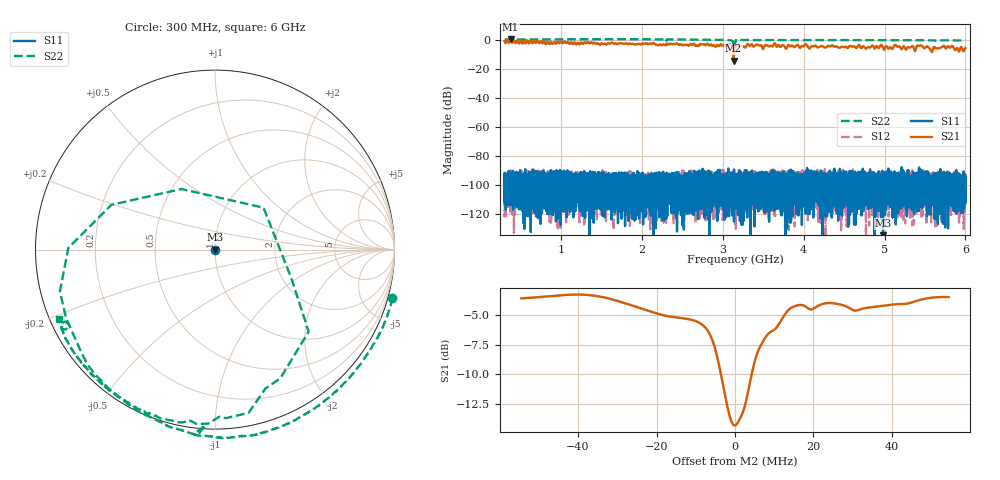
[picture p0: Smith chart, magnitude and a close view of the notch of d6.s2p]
!Agilent Technologies,N5230C,SG49000117,A.08.50.07
!Agilent N5230C: A.08.50.07
!Date: Sunday, March 17, 2024 05:43:27
!Correction: S11(Off)
!S21(Off)
!S12(Off)
!S22(Full 1 Port(2))
!S2P File: Measurements: S11, S21, S12, S22:
# Hz S  RI  R 50
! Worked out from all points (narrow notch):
!   20001 points, 300 MHz to 6 GHz, reference 50 ohm
!   highest |S21| = 0.45 dB at 373.5 MHz (marker M1); lowest = -14.3 dB at 3.132 GHz (marker M2)
!   notch at M2: 10.6 dB deep, 9.1 MHz wide at half that depth
!   lowest |S11| = -147.8 dB at 4.981 GHz (marker M3), VSWR 1.00, Z = 50 + j2.61e-06 ohm
!   |S11| at or under -10 dB: start of sweep to end of sweep
!   |S22| runs from -9.4 to 0.5 dB; largest |S21 - S12| = 1.1
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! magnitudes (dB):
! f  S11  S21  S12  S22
! 300 MHz  -100.9  -1.0  -100.1  0.2
! 373.5 MHz  -94.4  0.4  -112.0  0.2
! 1.25 GHz  -95.9  -1.8  -102.6  0.4
! 2.2 GHz  -97.5  -3.9  -96.4  0.3
! 3.076 GHz  -95.5  -3.6  -101.2  -0.2
! 3.132 GHz  -97.6  -14.3  -105.9  -5.2
! 3.15 GHz  -103.4  -4.3  -100.2  -2.0
! 3.184 GHz  -100.7  -3.5  -101.7  -0.1
! 3.263 GHz  -93.7  -4.7  -91.3  -0.1
! 3.33 GHz  -100.1  -4.2  -103.5  -0.2
! 3.486 GHz  -103.8  -4.9  -103.2  -0.2
! 3.635 GHz  -106.5  -2.5  -106.1  -0.2
! 3.774 GHz  -101.1  -5.8  -98.2  -0.2
! 4.1 GHz  -93.0  -4.3  -100.0  -0.2
! 4.981 GHz  -147.8  -5.5  -100.8  -0.2
! 5.05 GHz  -98.1  -6.1  -111.5  -0.2
! 5.14 GHz  -113.6  -3.7  -98.7  -0.3
! 5.374 GHz  -100.8  -7.7  -100.2  -0.3
! 5.433 GHz  -93.6  -4.1  -100.1  -0.3
! 5.575 GHz  -113.8  -7.5  -108.9  -0.3
! 5.721 GHz  -105.8  -4.5  -102.8  -0.4
! 6 GHz  -98.5  -5.7  -103.7  -0.4
